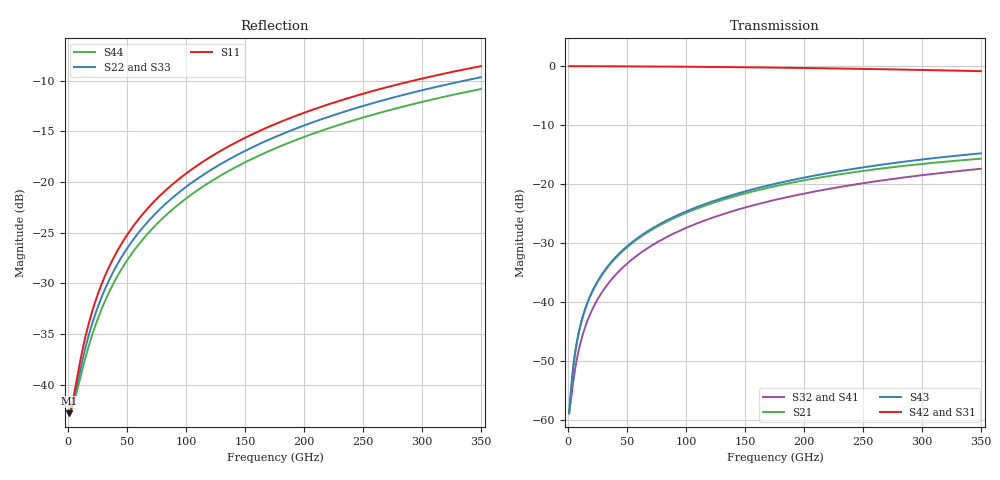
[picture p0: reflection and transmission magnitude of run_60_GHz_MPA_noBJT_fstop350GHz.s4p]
#  Hz  S  RI  R  50
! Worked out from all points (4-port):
!   400 points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, 875 MHz to 350 GHz, reference 50 ohm
!   strongest paths, dB at 875 MHz, 88.38 GHz, 175.9 GHz, 263.4 GHz, 350 GHz:
!     S42: -0.1, -0.1, -0.3, -0.6, -0.9
!     S31: -0.1, -0.2, -0.4, -0.7, -1.1
!     S43: -58.8, -25.7, -20.0, -16.8, -14.8
!     S21: -58.8, -25.9, -20.4, -17.4, -15.7
!     S32: -58.8, -28.5, -22.7, -19.5, -17.4
!     S41: -58.8, -28.5, -22.7, -19.5, -17.4
!   lowest |S11| = -42.8 dB at 875 MHz (marker M1), VSWR 1.01, Z = 50.7 - j0.0969 ohm
!   |S11| at or under -10 dB: start of sweep to 292.6 GHz
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8.75e8  0.00715 -0.000956  0.00103 0.000515  0.9928 -0.00255  -0.00108 0.000373
        0.00102 0.000515  0.00726 -0.000816  -0.00108 0.000374  0.9927 -0.00246
        0.9928 -0.00255  -0.00108 0.000369  0.00712 -0.000765  0.00103 0.000526
        -0.00108 0.000369  0.9926 -0.00246  0.00103 0.000526  0.00722 -0.000672
7e9  0.00692 -0.00765  0.0012 0.00412  0.9925 -0.0204  -0.00101 0.00299
     0.0012 0.00411  0.00708 -0.00654  -0.00101 0.00299  0.9923 -0.0197
     0.9924 -0.0204  -0.00101 0.00295  0.00714 -0.00613  0.00109 0.0042
     -0.00101 0.00295  0.9923 -0.0197  0.00109 0.00421  0.00726 -0.00539
1.8375e10  0.00556 -0.0201  0.00222 0.0107  0.9906 -0.0533  -0.00056 0.00785
           0.00222 0.0107  0.00599 -0.0172  -0.000572 0.00785  0.9906 -0.0514
           0.9905 -0.0532  -0.000573 0.00776  0.00725 -0.0162  0.00149 0.011
           -0.000563 0.00775  0.9905 -0.0514  0.00149 0.011  0.00742 -0.0143
3.7625e10  8.59e-05 -0.0412  0.00584 0.0213  0.9843 -0.1077  0.0012 0.016
           0.00584 0.0213  0.0015 -0.0354  0.00116 0.0161  0.9847 -0.104
           0.9841 -0.1077  0.00115 0.0159  0.00716 -0.0339  0.00283 0.0222
           0.00118 0.0158  0.9846 -0.1039  0.00283 0.0223  0.00753 -0.0299
6.825e10  -0.0177 -0.0728  0.0158 0.0361  0.9679 -0.1922  0.00683 0.0286
          0.0158 0.0361  -0.0134 -0.0628  0.00668 0.0286  0.9695 -0.1856
          0.967 -0.1919  0.00661 0.0282  0.0049 -0.0631  0.00645 0.0397
          0.00674 0.0281  0.969 -0.1853  0.00646 0.0397  0.00592 -0.0559
1.75e11  -0.146 -0.1253  0.0788 0.0539  0.8494 -0.46  0.0487 0.0561
         0.0789 0.0539  -0.1234 -0.1112  0.0482 0.0569  0.8596 -0.4466
         0.8449 -0.4565  0.0474 0.0557  -0.0222 -0.1625  0.033 0.0941
         0.048 0.055  0.8568 -0.4443  0.0331 0.0944  -0.0157 -0.1451
3.5e11  -0.3673 0.064  0.1552 -0.0519  0.5083 -0.7474  0.1371 0.0164
        0.1551 -0.052  -0.3255 0.0454  0.1378 0.0193  0.5379 -0.7394
        0.5033 -0.7264  0.133 0.0192  -0.1183 -0.2972  0.107 0.1452
        0.1335 0.0159  0.5333 -0.7258  0.1083 0.1459  -0.0951 -0.2714
